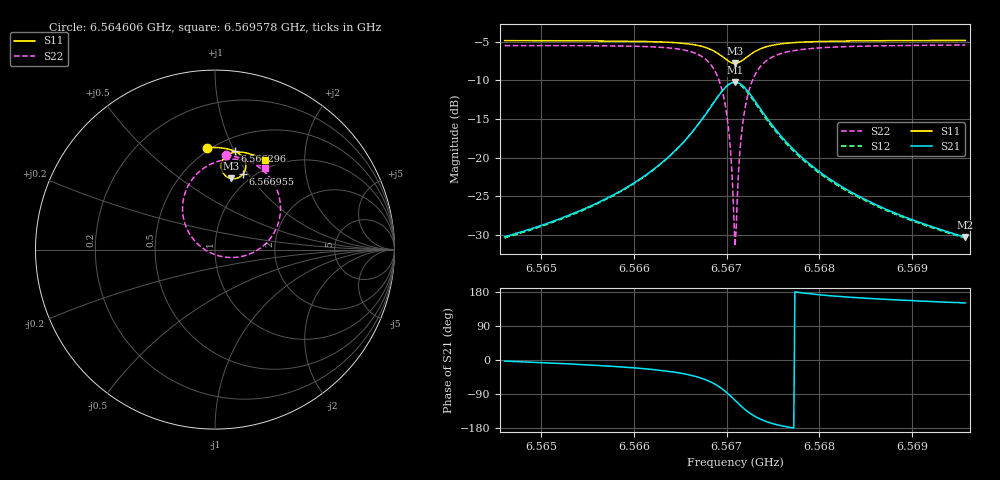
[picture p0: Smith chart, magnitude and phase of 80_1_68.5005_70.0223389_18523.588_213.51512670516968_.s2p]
#  HZ  S  RI  R  50.00
! Rohde & Schwarz Vector Network Analyzer
! Rohde-Schwarz,ZNB20-2Port,1311601062101988,3.16
! Created: UTC 3/20/2024, 4:52:06 PM
! freq[Hz]  re:S11  im:S11  re:S21  im:S21  re:S12  im:S12  re:S22  im:S22
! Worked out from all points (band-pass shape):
!   401 points, 6.564606 GHz to 6.569578 GHz, reference 50 ohm
!   highest |S21| = -10.25 dB at 6.567092 GHz (marker M1); lowest = -30.3 dB at 6.569578 GHz (marker M2)
!   |S21| within 3 dB of the highest: 6.566842 GHz to 6.56734 GHz (497.5 kHz wide, 0.00758 % of centre)
!   lowest |S11| = -7.8 dB at 6.567092 GHz (marker M3), VSWR 2.37, Z = 42.2 + j40.1 ohm
!   |S11| at or under -10 dB: nowhere
!   |S22| runs from -31.5 to -5.4 dB; largest |S21 - S12| = 0.016
!   S11 on the Smith chart (normalised r, x): 6.564606 GHz: 0.48, +0.81; 6.566296 GHz: 0.63, +1.01; 6.566955 GHz: 0.90, +0.95; 6.569578 GHz: 0.88, +1.30
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6.5646056e9  -0.0426 0.5678  0.0307 -0.00152  0.0301 -0.00194  0.0602 0.5256
6.5654384e9  0.027 0.5674  0.0449 -0.0097  0.044 -0.0102  0.1434 0.5089
6.5662713e9  0.1085 0.5487  0.0797 -0.0405  0.0786 -0.0413  0.2645 0.4442
6.5662961e9  0.1115 0.5475  0.0814 -0.0426  0.0804 -0.0435  0.2694 0.4398
6.5665571e9  0.1437 0.5262  0.1035 -0.0785  0.102 -0.0801  0.3277 0.3689
6.566756e9  0.1675 0.4907  0.117 -0.1412  0.1142 -0.1444  0.3646 0.2477
6.5668679e9  0.1712 0.4553  0.1048 -0.2034  0.0994 -0.2076  0.346 0.1289
6.5669549e9  0.1567 0.421  0.0627 -0.2623  0.053 -0.2657  0.2672 0.0195
6.5670171e9  0.1309 0.4009  0.00439 -0.2944  -0.00863 -0.2947  0.1584 -0.0359
6.5670419e9  0.1173 0.3964  -0.0248 -0.3003  -0.0387 -0.2985  0.1048 -0.0441
6.5670792e9  0.0949 0.3953  -0.0713 -0.2985  -0.0852 -0.2927  0.0216 -0.035
6.5670916e9  0.0874 0.3966  -0.0866 -0.2946  -0.1003 -0.2878  -0.00523 -0.0262
6.5671041e9  0.0801 0.3988  -0.1015 -0.2895  -0.1147 -0.2813  -0.0309 -0.0151
6.5671165e9  0.0731 0.4017  -0.1155 -0.2828  -0.1282 -0.2735  -0.0553 -0.00105
6.5671414e9  0.0605 0.4097  -0.1414 -0.2658  -0.1522 -0.2545  -0.098 0.0327
6.5671787e9  0.046 0.4253  -0.1712 -0.2337  -0.1788 -0.2208  -0.1453 0.0937
6.5672284e9  0.036 0.4492  -0.1939 -0.1864  -0.1971 -0.1734  -0.1765 0.1795
6.5672905e9  0.0356 0.4768  -0.1998 -0.1327  -0.1992 -0.1212  -0.1772 0.2741
6.5675143e9  0.0736 0.5295  -0.1529 -0.0298  -0.1495 -0.0251  -0.0723 0.4466
6.5679245e9  0.1365 0.5436  -0.0875 0.00902  -0.0853 0.0105  0.0715 0.5024
6.5687573e9  0.2181 0.5258  -0.0426 0.0158  -0.0416 0.0161  0.2039 0.4874
6.5695777e9  0.2806 0.4974  -0.0267 0.0151  -0.026 0.0151  0.2808 0.4545
